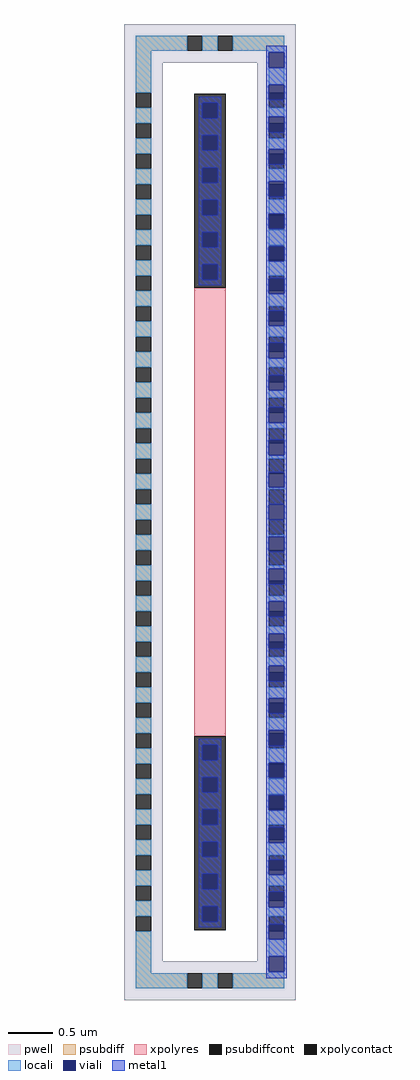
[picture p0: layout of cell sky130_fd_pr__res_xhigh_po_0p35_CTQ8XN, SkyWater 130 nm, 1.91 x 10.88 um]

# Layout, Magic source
magic
tech sky130A
magscale 1 2
<< pwell >>
rect -191 1002 191 1088
rect -191 -1002 -105 1002
rect 105 -1002 191 1002
rect -191 -1088 191 -1002
<< psubdiff >>
rect -165 1028 -51 1062
rect -17 1028 17 1062
rect 51 1028 165 1062
rect -165 935 -131 1028
rect 131 935 165 1028
rect -165 867 -131 901
rect -165 799 -131 833
rect -165 731 -131 765
rect -165 663 -131 697
rect -165 595 -131 629
rect -165 527 -131 561
rect -165 459 -131 493
rect -165 391 -131 425
rect -165 323 -131 357
rect -165 255 -131 289
rect -165 187 -131 221
rect -165 119 -131 153
rect -165 51 -131 85
rect -165 -17 -131 17
rect -165 -85 -131 -51
rect -165 -153 -131 -119
rect -165 -221 -131 -187
rect -165 -289 -131 -255
rect -165 -357 -131 -323
rect -165 -425 -131 -391
rect -165 -493 -131 -459
rect -165 -561 -131 -527
rect -165 -629 -131 -595
rect -165 -697 -131 -663
rect -165 -765 -131 -731
rect -165 -833 -131 -799
rect -165 -901 -131 -867
rect 131 867 165 901
rect 131 799 165 833
rect 131 731 165 765
rect 131 663 165 697
rect 131 595 165 629
rect 131 527 165 561
rect 131 459 165 493
rect 131 391 165 425
rect 131 323 165 357
rect 131 255 165 289
rect 131 187 165 221
rect 131 119 165 153
rect 131 51 165 85
rect 131 -17 165 17
rect 131 -85 165 -51
rect 131 -153 165 -119
rect 131 -221 165 -187
rect 131 -289 165 -255
rect 131 -357 165 -323
rect 131 -425 165 -391
rect 131 -493 165 -459
rect 131 -561 165 -527
rect 131 -629 165 -595
rect 131 -697 165 -663
rect 131 -765 165 -731
rect 131 -833 165 -799
rect 131 -901 165 -867
rect -165 -1028 -131 -935
rect 131 -1028 165 -935
rect -165 -1062 -51 -1028
rect -17 -1062 17 -1028
rect 51 -1062 165 -1028
<< psubdiffcont >>
rect -51 1028 -17 1062
rect 17 1028 51 1062
rect -165 901 -131 935
rect -165 833 -131 867
rect -165 765 -131 799
rect -165 697 -131 731
rect -165 629 -131 663
rect -165 561 -131 595
rect -165 493 -131 527
rect -165 425 -131 459
rect -165 357 -131 391
rect -165 289 -131 323
rect -165 221 -131 255
rect -165 153 -131 187
rect -165 85 -131 119
rect -165 17 -131 51
rect -165 -51 -131 -17
rect -165 -119 -131 -85
rect -165 -187 -131 -153
rect -165 -255 -131 -221
rect -165 -323 -131 -289
rect -165 -391 -131 -357
rect -165 -459 -131 -425
rect -165 -527 -131 -493
rect -165 -595 -131 -561
rect -165 -663 -131 -629
rect -165 -731 -131 -697
rect -165 -799 -131 -765
rect -165 -867 -131 -833
rect -165 -935 -131 -901
rect 131 901 165 935
rect 131 833 165 867
rect 131 765 165 799
rect 131 697 165 731
rect 131 629 165 663
rect 131 561 165 595
rect 131 493 165 527
rect 131 425 165 459
rect 131 357 165 391
rect 131 289 165 323
rect 131 221 165 255
rect 131 153 165 187
rect 131 85 165 119
rect 131 17 165 51
rect 131 -51 165 -17
rect 131 -119 165 -85
rect 131 -187 165 -153
rect 131 -255 165 -221
rect 131 -323 165 -289
rect 131 -391 165 -357
rect 131 -459 165 -425
rect 131 -527 165 -493
rect 131 -595 165 -561
rect 131 -663 165 -629
rect 131 -731 165 -697
rect 131 -799 165 -765
rect 131 -867 165 -833
rect 131 -935 165 -901
rect -51 -1062 -17 -1028
rect 17 -1062 51 -1028
<< xpolycontact >>
rect -35 500 35 932
rect -35 -932 35 -500
<< xpolyres >>
rect -35 -500 35 500
<< locali >>
rect -165 1028 -51 1062
rect -17 1028 17 1062
rect 51 1028 165 1062
rect -165 935 -131 1028
rect 131 1025 165 1028
rect 131 953 165 991
rect -165 867 -131 901
rect -165 799 -131 833
rect -165 731 -131 765
rect -165 663 -131 697
rect -165 595 -131 629
rect -165 527 -131 561
rect 131 881 165 901
rect 131 809 165 833
rect 131 737 165 765
rect 131 665 165 697
rect 131 595 165 629
rect 131 527 165 559
rect -165 459 -131 493
rect -165 391 -131 425
rect -165 323 -131 357
rect -165 255 -131 289
rect -165 187 -131 221
rect -165 119 -131 153
rect -165 51 -131 85
rect -165 -17 -131 17
rect -165 -85 -131 -51
rect -165 -153 -131 -119
rect -165 -221 -131 -187
rect -165 -289 -131 -255
rect -165 -357 -131 -323
rect -165 -425 -131 -391
rect -165 -493 -131 -459
rect 131 459 165 487
rect 131 391 165 415
rect 131 323 165 343
rect 131 255 165 271
rect 131 187 165 199
rect 131 119 165 127
rect 131 51 165 55
rect 131 -55 165 -51
rect 131 -127 165 -119
rect 131 -199 165 -187
rect 131 -271 165 -255
rect 131 -343 165 -323
rect 131 -415 165 -391
rect 131 -487 165 -459
rect -165 -561 -131 -527
rect -165 -629 -131 -595
rect -165 -697 -131 -663
rect -165 -765 -131 -731
rect -165 -833 -131 -799
rect -165 -901 -131 -867
rect 131 -559 165 -527
rect 131 -629 165 -595
rect 131 -697 165 -665
rect 131 -765 165 -737
rect 131 -833 165 -809
rect 131 -901 165 -881
rect -165 -1028 -131 -935
rect 131 -991 165 -953
rect 131 -1028 165 -1025
rect -165 -1062 -51 -1028
rect -17 -1062 17 -1028
rect 51 -1062 165 -1028
<< viali >>
rect 131 991 165 1025
rect 131 935 165 953
rect -17 878 17 912
rect -17 806 17 840
rect -17 734 17 768
rect -17 662 17 696
rect -17 590 17 624
rect -17 518 17 552
rect 131 919 165 935
rect 131 867 165 881
rect 131 847 165 867
rect 131 799 165 809
rect 131 775 165 799
rect 131 731 165 737
rect 131 703 165 731
rect 131 663 165 665
rect 131 631 165 663
rect 131 561 165 593
rect 131 559 165 561
rect 131 493 165 521
rect 131 487 165 493
rect 131 425 165 449
rect 131 415 165 425
rect 131 357 165 377
rect 131 343 165 357
rect 131 289 165 305
rect 131 271 165 289
rect 131 221 165 233
rect 131 199 165 221
rect 131 153 165 161
rect 131 127 165 153
rect 131 85 165 89
rect 131 55 165 85
rect 131 -17 165 17
rect 131 -85 165 -55
rect 131 -89 165 -85
rect 131 -153 165 -127
rect 131 -161 165 -153
rect 131 -221 165 -199
rect 131 -233 165 -221
rect 131 -289 165 -271
rect 131 -305 165 -289
rect 131 -357 165 -343
rect 131 -377 165 -357
rect 131 -425 165 -415
rect 131 -449 165 -425
rect 131 -493 165 -487
rect -17 -553 17 -519
rect -17 -625 17 -591
rect -17 -697 17 -663
rect -17 -769 17 -735
rect -17 -841 17 -807
rect -17 -913 17 -879
rect 131 -521 165 -493
rect 131 -561 165 -559
rect 131 -593 165 -561
rect 131 -663 165 -631
rect 131 -665 165 -663
rect 131 -731 165 -703
rect 131 -737 165 -731
rect 131 -799 165 -775
rect 131 -809 165 -799
rect 131 -867 165 -847
rect 131 -881 165 -867
rect 131 -935 165 -919
rect 131 -953 165 -935
rect 131 -1025 165 -991
<< metal1 >>
rect 125 1025 171 1040
rect 125 991 131 1025
rect 165 991 171 1025
rect 125 953 171 991
rect -25 912 25 926
rect -25 878 -17 912
rect 17 878 25 912
rect -25 840 25 878
rect -25 806 -17 840
rect 17 806 25 840
rect -25 768 25 806
rect -25 734 -17 768
rect 17 734 25 768
rect -25 696 25 734
rect -25 662 -17 696
rect 17 662 25 696
rect -25 624 25 662
rect -25 590 -17 624
rect 17 590 25 624
rect -25 552 25 590
rect -25 518 -17 552
rect 17 518 25 552
rect -25 505 25 518
rect 125 919 131 953
rect 165 919 171 953
rect 125 881 171 919
rect 125 847 131 881
rect 165 847 171 881
rect 125 809 171 847
rect 125 775 131 809
rect 165 775 171 809
rect 125 737 171 775
rect 125 703 131 737
rect 165 703 171 737
rect 125 665 171 703
rect 125 631 131 665
rect 165 631 171 665
rect 125 593 171 631
rect 125 559 131 593
rect 165 559 171 593
rect 125 521 171 559
rect 125 487 131 521
rect 165 487 171 521
rect 125 449 171 487
rect 125 415 131 449
rect 165 415 171 449
rect 125 377 171 415
rect 125 343 131 377
rect 165 343 171 377
rect 125 305 171 343
rect 125 271 131 305
rect 165 271 171 305
rect 125 233 171 271
rect 125 199 131 233
rect 165 199 171 233
rect 125 161 171 199
rect 125 127 131 161
rect 165 127 171 161
rect 125 89 171 127
rect 125 55 131 89
rect 165 55 171 89
rect 125 17 171 55
rect 125 -17 131 17
rect 165 -17 171 17
rect 125 -55 171 -17
rect 125 -89 131 -55
rect 165 -89 171 -55
rect 125 -127 171 -89
rect 125 -161 131 -127
rect 165 -161 171 -127
rect 125 -199 171 -161
rect 125 -233 131 -199
rect 165 -233 171 -199
rect 125 -271 171 -233
rect 125 -305 131 -271
rect 165 -305 171 -271
rect 125 -343 171 -305
rect 125 -377 131 -343
rect 165 -377 171 -343
rect 125 -415 171 -377
rect 125 -449 131 -415
rect 165 -449 171 -415
rect 125 -487 171 -449
rect -25 -519 25 -505
rect -25 -553 -17 -519
rect 17 -553 25 -519
rect -25 -591 25 -553
rect -25 -625 -17 -591
rect 17 -625 25 -591
rect -25 -663 25 -625
rect -25 -697 -17 -663
rect 17 -697 25 -663
rect -25 -735 25 -697
rect -25 -769 -17 -735
rect 17 -769 25 -735
rect -25 -807 25 -769
rect -25 -841 -17 -807
rect 17 -841 25 -807
rect -25 -879 25 -841
rect -25 -913 -17 -879
rect 17 -913 25 -879
rect -25 -926 25 -913
rect 125 -521 131 -487
rect 165 -521 171 -487
rect 125 -559 171 -521
rect 125 -593 131 -559
rect 165 -593 171 -559
rect 125 -631 171 -593
rect 125 -665 131 -631
rect 165 -665 171 -631
rect 125 -703 171 -665
rect 125 -737 131 -703
rect 165 -737 171 -703
rect 125 -775 171 -737
rect 125 -809 131 -775
rect 165 -809 171 -775
rect 125 -847 171 -809
rect 125 -881 131 -847
rect 165 -881 171 -847
rect 125 -919 171 -881
rect 125 -953 131 -919
rect 165 -953 171 -919
rect 125 -991 171 -953
rect 125 -1025 131 -991
rect 165 -1025 171 -991
rect 125 -1040 171 -1025
<< properties >>
string FIXED_BBOX -148 -1045 148 1045
<< end >>
